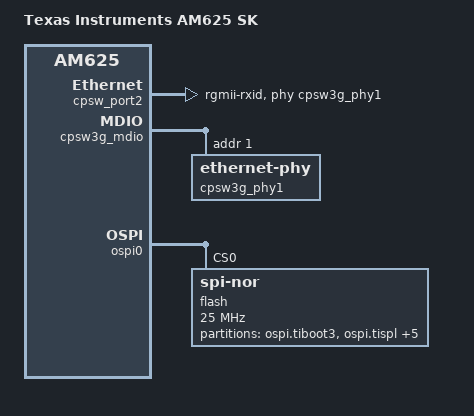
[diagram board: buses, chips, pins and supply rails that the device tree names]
// SPDX-License-Identifier: GPL-2.0
/*
 * AM625 SK: https://www.ti.com/lit/zip/sprr448
 *
 * Copyright (C) 2021-2022 Texas Instruments Incorporated - https://www.ti.com/
 */

/dts-v1/;

#include "k3-am62x-sk-common.dtsi"

/ {
	compatible =  "ti,am625-sk", "ti,am625";
	model = "Texas Instruments AM625 SK";
};

&cpsw_port2 {
	phy-mode = "rgmii-rxid";
	phy-handle = <&cpsw3g_phy1>;
};

&cpsw3g_mdio {
	cpsw3g_phy1: ethernet-phy@1 {
		reg = <1>;
		ti,rx-internal-delay = <DP83867_RGMIIDCTL_2_00_NS>;
		ti,fifo-depth = <DP83867_PHYCR_FIFO_DEPTH_4_B_NIB>;
		ti,min-output-impedance;
	};
};

&ospi0 {
	flash@0{
		compatible = "jedec,spi-nor";
		reg = <0x0>;
		spi-tx-bus-width = <8>;
		spi-rx-bus-width = <8>;
		spi-max-frequency = <25000000>;
		cdns,tshsl-ns = <60>;
		cdns,tsd2d-ns = <60>;
		cdns,tchsh-ns = <60>;
		cdns,tslch-ns = <60>;
		cdns,read-delay = <4>;
		cdns,phy-mode;

		partitions {
			compatible = "fixed-partitions";
			#address-cells = <1>;
			#size-cells = <1>;

			partition@0 {
				label = "ospi.tiboot3";
				reg = <0x0 0x80000>;
			};

			partition@80000 {
				label = "ospi.tispl";
				reg = <0x80000 0x200000>;
			};

			partition@280000 {
				label = "ospi.u-boot";
				reg = <0x280000 0x400000>;
			};

			partition@680000 {
				label = "ospi.env";
				reg = <0x680000 0x40000>;
			};

			partition@6c0000 {
				label = "ospi.env.backup";
				reg = <0x6c0000 0x40000>;
			};

			partition@800000 {
				label = "ospi.rootfs";
				reg = <0x800000 0x37c0000>;
			};

			partition@3fc0000 {
				label = "ospi.phypattern";
				reg = <0x3fc0000 0x40000>;
			};
		};
	};
};
